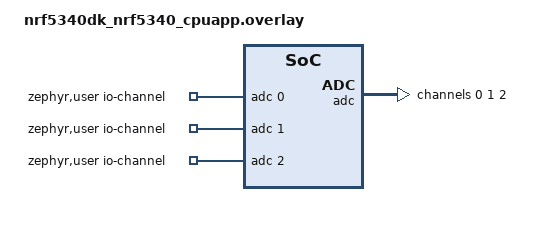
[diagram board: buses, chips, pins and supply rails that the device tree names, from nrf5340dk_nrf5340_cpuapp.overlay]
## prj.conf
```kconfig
# Logger module
CONFIG_LOG=y

# Button and LED library
CONFIG_DK_LIBRARY=y

# Bluetooth LE
CONFIG_BT=y
CONFIG_BT_PERIPHERAL=y
CONFIG_BT_DEVICE_NAME="Hiski_Laite_ala_koske_vittu"

# Increase stack size
CONFIG_SYSTEM_WORKQUEUE_STACK_SIZE=2048
CONFIG_MAIN_STACK_SIZE=2048

# ADC driver
CONFIG_ADC=y
```

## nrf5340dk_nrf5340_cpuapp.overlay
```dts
// To get started, press Ctrl+Space to bring up the completion menu and view the available nodes.

// You can also use the buttons in the sidebar to perform actions on nodes.
// Actions currently available include:

// * Enabling / disabling the node
// * Adding the bus to a bus
// * Removing the node
// * Connecting ADC channels

// For more help, browse the DeviceTree documentation at https://docs.zephyrproject.org/latest/guides/dts/index.html
// You can also visit the nRF DeviceTree extension documentation at https://nrfconnect.github.io/vscode-nrf-connect/devicetree/nrfdevicetree.html




/{
	zephyr,user {
		io-channels = <&adc 0>, <&adc 1>, <&adc 2>;
	};
};



&adc {
	status = "okay";
	#address-cells = <1>;
	#size-cells = <0>;

	channel@0 {
		reg = <0>;
		zephyr,gain = "ADC_GAIN_1_6";
		zephyr,reference = "ADC_REF_INTERNAL";
		zephyr,acquisition-time = <ADC_ACQ_TIME_DEFAULT>;
		zephyr,input-positive = <NRF_SAADC_AIN0>; /* P0.04 */
		zephyr,resolution = <12>;
	};

	channel@1 {
		reg = <1>;
		zephyr,gain = "ADC_GAIN_1_6";
		zephyr,reference = "ADC_REF_INTERNAL";
		zephyr,acquisition-time = <ADC_ACQ_TIME_DEFAULT>;
		zephyr,input-positive = <NRF_SAADC_AIN1>;
		zephyr,resolution = <12>;
		//zephyr,oversampling = <8>;
	};

	channel@2 {
		reg = <2>;
		zephyr,gain = "ADC_GAIN_1_6";
		zephyr,reference = "ADC_REF_INTERNAL";
		zephyr,acquisition-time = <ADC_ACQ_TIME_DEFAULT>;
		zephyr,input-positive = <NRF_SAADC_AIN2>;
		zephyr,resolution = <12>;
		//zephyr,oversampling = <8>;
	};


};
```

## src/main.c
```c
/*
 * Copyright (c) 2023 Nordic Semiconductor ASA
 *
 * SPDX-License-Identifier: LicenseRef-Nordic-5-Clause
 */

#include <zephyr/kernel.h>
#include <zephyr/logging/log.h>
#include <zephyr/bluetooth/bluetooth.h>
#include <zephyr/bluetooth/gap.h>
#include <zephyr/bluetooth/uuid.h>
#include <zephyr/bluetooth/conn.h>
#include <dk_buttons_and_leds.h>
#include "my_lbs.h"
#include "adc.h"
#include <zephyr/sys/atomic.h>
static const struct bt_le_adv_param *adv_param = BT_LE_ADV_PARAM(
	(BT_LE_ADV_OPT_CONN |
	 BT_LE_ADV_OPT_USE_IDENTITY), /* Connectable advertising and use identity address */
	800, /* Min Advertising Interval 500ms (800*0.625ms) */
	801, /* Max Advertising Interval 500.625ms (801*0.625ms) */
	NULL); /* Set to NULL for undirected advertising */

LOG_MODULE_REGISTER(Lesson4_Exercise2, LOG_LEVEL_INF);
static atomic_t selected_direction = ATOMIC_INIT(0);

K_SEM_DEFINE(measurement_sem, 0, 1);

#define TOTAL_MEASUREMENTS 100
#define MEASUREMENT_INTERVAL 100
#define DEVICE_NAME CONFIG_BT_DEVICE_NAME
#define DEVICE_NAME_LEN (sizeof(DEVICE_NAME) - 1)

#define RUN_STATUS_LED DK_LED1
#define CON_STATUS_LED DK_LED2
#define USER_LED DK_LED3
#define USER_BUTTON DK_BTN1_MSK

#define STACKSIZE 1024
#define PRIORITY 7

#define RUN_LED_BLINK_INTERVAL 1000
/* STEP 17 - Define the interval at which you want to send data at */
#define NOTIFY_INTERVAL 500
static bool app_button_state;
static struct k_work adv_work;
/* STEP 15 - Define the data you want to stream over Bluetooth LE */


static const struct bt_data ad[] = {
	BT_DATA_BYTES(BT_DATA_FLAGS, (BT_LE_AD_GENERAL | BT_LE_AD_NO_BREDR)),
	BT_DATA(BT_DATA_NAME_COMPLETE, DEVICE_NAME, DEVICE_NAME_LEN),

};

static const struct bt_data sd[] = {
	BT_DATA_BYTES(BT_DATA_UUID128_ALL, BT_UUID_LBS_VAL),
};

static void adv_work_handler(struct k_work *work)
{
	int err = bt_le_adv_start(adv_param, ad, ARRAY_SIZE(ad), sd, ARRAY_SIZE(sd));

	if (err) {
		printk("Advertising failed to start (err %d)\n", err);
		return;
	}

	printk("Advertising successfully started\n");
}
static void advertising_start(void)
{
	k_work_submit(&adv_work);
}
static void recycled_cb(void)
{
	printk("Connection object available from previous conn. Disconnect is complete!\n");
	advertising_start();
}
/* STEP 16 - Define a function to simulate the data */

static void app_led_cb(bool led_state)
{
	dk_set_led(USER_LED, led_state);
}

static bool app_button_cb(void)
{
	return app_button_state;
}

/* STEP 18.1 - Define the thread function  */
void send_data_thread(void *a, void *b, void *c)
{
    while (1) {

        /* Wait until Button 3 is pressed */
        k_sem_take(&measurement_sem, K_FOREVER);

        uint32_t direction = atomic_get(&selected_direction);

        printk("Starting 100 measurements. Direction: %u\n",
               direction);

        for (int i = 0; i < TOTAL_MEASUREMENTS; i++) {

            struct Measurement measurement = readADCValue();

            struct sensor_data data = {
                .direction = direction,
                .x = measurement.x,
                .y = measurement.y,
                .z = measurement.z
            };

            int err = my_lbs_send_sensor_notify(&data);

            if (err) {
                printk("BLE notification failed: %d\n", err);
            }

            k_sleep(K_MSEC(MEASUREMENT_INTERVAL));
        }

        printk("100 measurements completed\n");
    }
}

static struct my_lbs_cb app_callbacks = {
	.led_cb = app_led_cb,
	.button_cb = app_button_cb,
};

static void button_changed(uint32_t button_state,
                           uint32_t has_changed)
{

    /* Button 1: Original Exercise 2 functionality */
    if (has_changed & DK_BTN1_MSK) {
        uint32_t state = button_state & DK_BTN1_MSK;

        my_lbs_send_button_state_indicate(state != 0);

        app_button_state = state != 0;
    }

    /* Button 2: Change direction */
    if ((has_changed & DK_BTN2_MSK) &&
        (button_state & DK_BTN2_MSK)) {

        uint32_t direction =
            (atomic_get(&selected_direction) + 1) % 6;

        atomic_set(&selected_direction, direction);

        printk("Selected direction: %u\n", direction);
    }

    /* Button 3: Start 100 measurements */
    if ((has_changed & DK_BTN3_MSK) &&
        (button_state & DK_BTN3_MSK)) {

        k_sem_give(&measurement_sem);

        printk("Measurement started\n");
    }
}

static void on_connected(struct bt_conn *conn, uint8_t err)
{
	if (err) {
		printk("Connection failed (err %u)\n", err);
		return;
	}

	printk("Connected\n");

	dk_set_led_on(CON_STATUS_LED);
}

static void on_disconnected(struct bt_conn *conn, uint8_t reason)
{
	printk("Disconnected (reason %u)\n", reason);

	dk_set_led_off(CON_STATUS_LED);
}

struct bt_conn_cb connection_callbacks = {
	.connected = on_connected,
	.disconnected = on_disconnected,
	.recycled = recycled_cb,
};

static int init_button(void)
{
	int err;

	err = dk_buttons_init(button_changed);
	if (err) {
		printk("Cannot init buttons (err: %d)\n", err);
	}

	return err;
}

int main(void)
{
	int blink_status = 0;
	int err;

	LOG_INF("Starting Lesson 4 - Exercise 2 \n");

	err = dk_leds_init();
	if (err) {
		LOG_ERR("LEDs init failed (err %d)\n", err);
		return -1;
	}

	err = init_button();
	if (err) {
		printk("Button init failed (err %d)\n", err);
		return -1;
	}
	err = initializeADC();

	if (err) {
    printk("ADC initialization failed\n");
    	return -1;
	}
	printk("ADC initialized successfully\n");

	err = bt_enable(NULL);
	if (err) {
		LOG_ERR("Bluetooth init failed (err %d)\n", err);
		return -1;
	}
	bt_conn_cb_register(&connection_callbacks);

	err = my_lbs_init(&app_callbacks);
	if (err) {
		printk("Failed to init LBS (err:%d)\n", err);
		return -1;
	}
	LOG_INF("Bluetooth initialized\n");
	k_work_init(&adv_work, adv_work_handler);
	advertising_start();
	for (;;) {
		dk_set_led(RUN_STATUS_LED, (++blink_status) % 2);
		k_sleep(K_MSEC(RUN_LED_BLINK_INTERVAL));
	}
}
/* STEP 18.2 - Define and initialize a thread to send data periodically */
K_THREAD_DEFINE(send_data_thread_id, STACKSIZE,
                send_data_thread, NULL, NULL, NULL,
                PRIORITY, 0, 0);
```

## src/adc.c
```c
#include <zephyr/device.h>
#include <zephyr/devicetree.h>
#include <zephyr/drivers/adc.h>
#include <hal/nrf_saadc.h>
#include <zephyr/kernel.h>
#include <zephyr/sys/printk.h>
#include <zephyr/sys/util.h>
#include <zephyr/sys/printk.h>
#include "adc.h"

#if !DT_NODE_EXISTS(DT_PATH(zephyr_user)) || \
	!DT_NODE_HAS_PROP(DT_PATH(zephyr_user), io_channels)
#error "No suitable devicetree overlay specified"
#endif

#define DT_SPEC_AND_COMMA(node_id, prop, idx) \
	ADC_DT_SPEC_GET_BY_IDX(node_id, idx),

static const struct adc_dt_spec adc_channels[] = {
	DT_FOREACH_PROP_ELEM(DT_PATH(zephyr_user), io_channels,
			     DT_SPEC_AND_COMMA)
};





void printDebugInfo(void)
{
   printk("printing first adc_dt_spec structure contents for all channels\n");
   for(int i = 0;i<3;i++)
   {
   printk("adc_dt_spec structure, channel %d = \n",i);
   printk("Device pointer = %p\n",adc_channels[1].dev);
   printk("Channel Id = %d\n",adc_channels[i].channel_id);
   printk("Voltage reference = %d\n",adc_channels[i].vref_mv);
   printk("Resolution = %d\n",adc_channels[i].resolution);
   printk("Oversampling = %d\n",adc_channels[i].oversampling);
   printk("\n\n");
   }

}

int initializeADC(void)
{

    int err;
	
	for (size_t i = 0U; i < ARRAY_SIZE(adc_channels); i++) {
		if (!device_is_ready(adc_channels[i].dev)) {
			printk("ADC controller device not ready\n");
			return -1;
		}

		err = adc_channel_setup_dt(&adc_channels[i]);
		if (err < 0) {
			printk("Could not setup channel #%d (%d)\n", i, err);
			return -1;
		}
	}

    return 0;

}

struct Measurement readADCValue(void)
{
    int16_t buf;
    struct Measurement m = {0};

    struct adc_sequence sequence = {
        .buffer = &buf,
        .buffer_size = sizeof(buf),
    };

    for (size_t i = 0; i < ARRAY_SIZE(adc_channels); i++)
    {
        int err;
        int32_t val_mv;

        (void)adc_sequence_init_dt(&adc_channels[i], &sequence);

        err = adc_read(adc_channels[i].dev, &sequence);

        if (err < 0)
        {
            printk("Could not read ADC (%d)\n", err);
            continue;
        }

        val_mv = buf;

        err = adc_raw_to_millivolts_dt(
            &adc_channels[i], &val_mv);

        if (err < 0)
        {
            printk("Voltage conversion failed\n");
            continue;
        }

        if (i == 0)
            m.x = val_mv;
        else if (i == 1)
            m.y = val_mv;
        else if (i == 2)
            m.z = val_mv;
    }

    return m;
}
```

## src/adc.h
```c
#ifndef ADC_H_KJJ
#define ADC_H_KJJ

#include <stdint.h>

struct Measurement
{
    uint16_t x;
    uint16_t y;
    uint16_t z;
};

int initializeADC(void);
struct Measurement readADCValue(void);
void printDebugInfo(void);

#endif
```

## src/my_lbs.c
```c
/*
 * Copyright (c) 2018 Nordic Semiconductor ASA
 *
 * SPDX-License-Identifier: LicenseRef-Nordic-5-Clause
 */

/** @file
 *  @brief LED Button Service (LBS) sample
 */

#include <zephyr/types.h>
#include <stddef.h>
#include <string.h>
#include <errno.h>
#include <zephyr/sys/printk.h>
#include <zephyr/sys/byteorder.h>
#include <zephyr/kernel.h>
#include <zephyr/logging/log.h>
#include <zephyr/bluetooth/bluetooth.h>
#include <zephyr/bluetooth/hci.h>
#include <zephyr/bluetooth/conn.h>
#include <zephyr/bluetooth/uuid.h>
#include <zephyr/bluetooth/gatt.h>

#include "my_lbs.h"

LOG_MODULE_DECLARE(Lesson4_Exercise2);

static bool notify_mysensor_enabled;
static bool indicate_enabled;
static bool button_state;
static struct my_lbs_cb lbs_cb;

/* STEP 4 - Define an indication parameter */
static struct bt_gatt_indicate_params ind_params;

/* STEP 3 - Implement the configuration change callback function */
static void mylbsbc_ccc_cfg_changed(const struct bt_gatt_attr *attr, uint16_t value)
{
	indicate_enabled = (value == BT_GATT_CCC_INDICATE);
}

/* STEP 13 - Define the configuration change callback function for the MYSENSOR characteristic */
static void mylbsbc_ccc_mysensor_cfg_changed(const struct bt_gatt_attr *attr, uint16_t value)
{
	notify_mysensor_enabled = (value == BT_GATT_CCC_NOTIFY);
}

// This function is called when a remote device has acknowledged the indication at its host layer
static void indicate_cb(struct bt_conn *conn, struct bt_gatt_indicate_params *params, uint8_t err)
{
	LOG_DBG("Indication %s\n", err != 0U ? "fail" : "success");
}
static ssize_t write_led(struct bt_conn *conn, const struct bt_gatt_attr *attr, const void *buf,
			 uint16_t len, uint16_t offset, uint8_t flags)
{
	LOG_DBG("Attribute write, handle: %u, conn: %p", attr->handle, (void *)conn);

	if (len != 1U) {
		LOG_DBG("Write led: Incorrect data length");
		return BT_GATT_ERR(BT_ATT_ERR_INVALID_ATTRIBUTE_LEN);
	}

	if (offset != 0) {
		LOG_DBG("Write led: Incorrect data offset");
		return BT_GATT_ERR(BT_ATT_ERR_INVALID_OFFSET);
	}

	if (lbs_cb.led_cb) {
		// Read the received value
		uint8_t val = *((uint8_t *)buf);

		if (val == 0x00 || val == 0x01) {
			// Call the application callback function to update the LED state
			lbs_cb.led_cb(val ? true : false);
		} else {
			LOG_DBG("Write led: Incorrect value");
			return BT_GATT_ERR(BT_ATT_ERR_VALUE_NOT_ALLOWED);
		}
	}

	return len;
}

static ssize_t read_button(struct bt_conn *conn, const struct bt_gatt_attr *attr, void *buf,
			   uint16_t len, uint16_t offset)
{
	// get a pointer to button_state which is passed in the BT_GATT_CHARACTERISTIC() and stored in attr->user_data
	const char *value = attr->user_data;

	LOG_DBG("Attribute read, handle: %u, conn: %p", attr->handle, (void *)conn);

	if (lbs_cb.button_cb) {
		// Call the application callback function to update the get the current value of the button
		button_state = lbs_cb.button_cb();
		return bt_gatt_attr_read(conn, attr, buf, len, offset, value, sizeof(*value));
	}

	return 0;
}

/* LED Button Service Declaration */
BT_GATT_SERVICE_DEFINE(
	my_lbs_svc, BT_GATT_PRIMARY_SERVICE(BT_UUID_LBS),
	/* STEP 1 - Modify the Button characteristic declaration to support indication */
	BT_GATT_CHARACTERISTIC(BT_UUID_LBS_BUTTON, BT_GATT_CHRC_READ | BT_GATT_CHRC_INDICATE,
			       BT_GATT_PERM_READ, read_button, NULL, &button_state),
	/* STEP 2 - Create and add the Client Characteristic Configuration Descriptor */
	BT_GATT_CCC(mylbsbc_ccc_cfg_changed, BT_GATT_PERM_READ | BT_GATT_PERM_WRITE),

	BT_GATT_CHARACTERISTIC(BT_UUID_LBS_LED, BT_GATT_CHRC_WRITE, BT_GATT_PERM_WRITE, NULL,
			       write_led, NULL),
	/* STEP 12 - Create and add the MYSENSOR characteristic and its CCCD  */
	BT_GATT_CHARACTERISTIC(BT_UUID_LBS_MYSENSOR, BT_GATT_CHRC_NOTIFY, BT_GATT_PERM_NONE, NULL,
			       NULL, NULL),

	BT_GATT_CCC(mylbsbc_ccc_mysensor_cfg_changed, BT_GATT_PERM_READ | BT_GATT_PERM_WRITE),

);
/* A function to register application callbacks for the LED and Button characteristics  */
int my_lbs_init(struct my_lbs_cb *callbacks)
{
	if (callbacks) {
		lbs_cb.led_cb = callbacks->led_cb;
		lbs_cb.button_cb = callbacks->button_cb;
	}

	return 0;
}

/* STEP 5 - Define the function to send indications */
int my_lbs_send_button_state_indicate(bool button_state)
{
	if (!indicate_enabled) {
		return -EACCES;
	}
	ind_params.attr = &my_lbs_svc.attrs[2];
	ind_params.func = indicate_cb; // A remote device has ACKed at its host layer (ATT ACK)
	ind_params.destroy = NULL;
	ind_params.data = &button_state;
	ind_params.len = sizeof(button_state);
	return bt_gatt_indicate(NULL, &ind_params);
}

/* STEP 14 - Define the function to send notifications for the MYSENSOR characteristic */
int my_lbs_send_sensor_notify(struct sensor_data *data)
{
    if (!notify_mysensor_enabled) {
        return -EACCES;
    }

	uint8_t payload[16];

    sys_put_le32(data->direction, &payload[0]);
    sys_put_le32(data->x, &payload[4]);
    sys_put_le32(data->y, &payload[8]);
    sys_put_le32(data->z, &payload[12]);

    return bt_gatt_notify(
        NULL,
        &my_lbs_svc.attrs[7],
        payload,
        sizeof(payload)
    );

}
```

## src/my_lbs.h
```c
/*
 * Copyright (c) 2018 Nordic Semiconductor ASA
 *
 * SPDX-License-Identifier: LicenseRef-Nordic-5-Clause
 */

#ifndef BT_LBS_H_
#define BT_LBS_H_

/**@file
 * @defgroup bt_lbs LED Button Service API
 * @{
 * @brief API for the LED Button Service (LBS).
 */

#ifdef __cplusplus
extern "C" {
#endif

#include <zephyr/types.h>

/** @brief LBS Service UUID. */
#define BT_UUID_LBS_VAL BT_UUID_128_ENCODE(0x00001523, 0x1212, 0xefde, 0x1523, 0x785feabcd123)

/** @brief Button Characteristic UUID. */
#define BT_UUID_LBS_BUTTON_VAL                                                                     \
	BT_UUID_128_ENCODE(0x00001524, 0x1212, 0xefde, 0x1523, 0x785feabcd123)

/** @brief LED Characteristic UUID. */
#define BT_UUID_LBS_LED_VAL BT_UUID_128_ENCODE(0x00001525, 0x1212, 0xefde, 0x1523, 0x785feabcd123)

/* STEP 11.1 - Assign a UUID to the MYSENSOR characteristic */
/** @brief LED Characteristic UUID. */
#define BT_UUID_LBS_MYSENSOR_VAL                                                                   \
	BT_UUID_128_ENCODE(0x00001526, 0x1212, 0xefde, 0x1523, 0x785feabcd123)

#define BT_UUID_LBS BT_UUID_DECLARE_128(BT_UUID_LBS_VAL)
#define BT_UUID_LBS_BUTTON BT_UUID_DECLARE_128(BT_UUID_LBS_BUTTON_VAL)
#define BT_UUID_LBS_LED BT_UUID_DECLARE_128(BT_UUID_LBS_LED_VAL)
/* STEP 11.2 - Convert the array to a generic UUID */
#define BT_UUID_LBS_MYSENSOR BT_UUID_DECLARE_128(BT_UUID_LBS_MYSENSOR_VAL)

/** @brief Callback type for when an LED state change is received. */
typedef void (*led_cb_t)(const bool led_state);

/** @brief Callback type for when the button state is pulled. */
typedef bool (*button_cb_t)(void);

/** @brief Callback struct used by the LBS Service. */
struct my_lbs_cb {
	/** LED state change callback. */
	led_cb_t led_cb;
	/** Button read callback. */
	button_cb_t button_cb;
};

/** @brief Initialize the LBS Service.
 *
 * This function registers application callback functions with the My LBS
 * Service
 *
 * @param[in] callbacks Struct containing pointers to callback functions
 *			used by the service. This pointer can be NULL
 *			if no callback functions are defined.
 *
 *
 * @retval 0 If the operation was successful.
 *           Otherwise, a (negative) error code is returned.
 */

 struct sensor_data {
    uint32_t direction;
    uint32_t x;
    uint32_t y;
    uint32_t z;
};

int my_lbs_init(struct my_lbs_cb *callbacks);

/** @brief Send the button state as indication.
 *
 * This function sends a binary state, typically the state of a
 * button, to all connected peers.
 *
 * @param[in] button_state The state of the button.
 *
 * @retval 0 If the operation was successful.
 *           Otherwise, a (negative) error code is returned.
 */
int my_lbs_send_button_state_indicate(bool button_state);

/** @brief Send the button state as notification.
 *
 * This function sends a binary state, typically the state of a
 * button, to all connected peers.
 *
 * @param[in] button_state The state of the button.
 *
 * @retval 0 If the operation was successful.
 *           Otherwise, a (negative) error code is returned.
 */
int my_lbs_send_button_state_notify(bool button_state);

/** @brief Send direction and XYZ sensor values as notification.
 *
 * Sends four uint32_t values:
 * direction, x, y and z.
 *
 * @param[in] sensor_value The value of the simulated sensor.
 *
 * @retval 0 If the operation was successful.
 *           Otherwise, a (negative) error code is returned.
 */
int my_lbs_send_sensor_notify(struct sensor_data *data);

#ifdef __cplusplus
}
#endif

/**
 * @}
 */

#endif /* BT_LBS_H_ */
```
